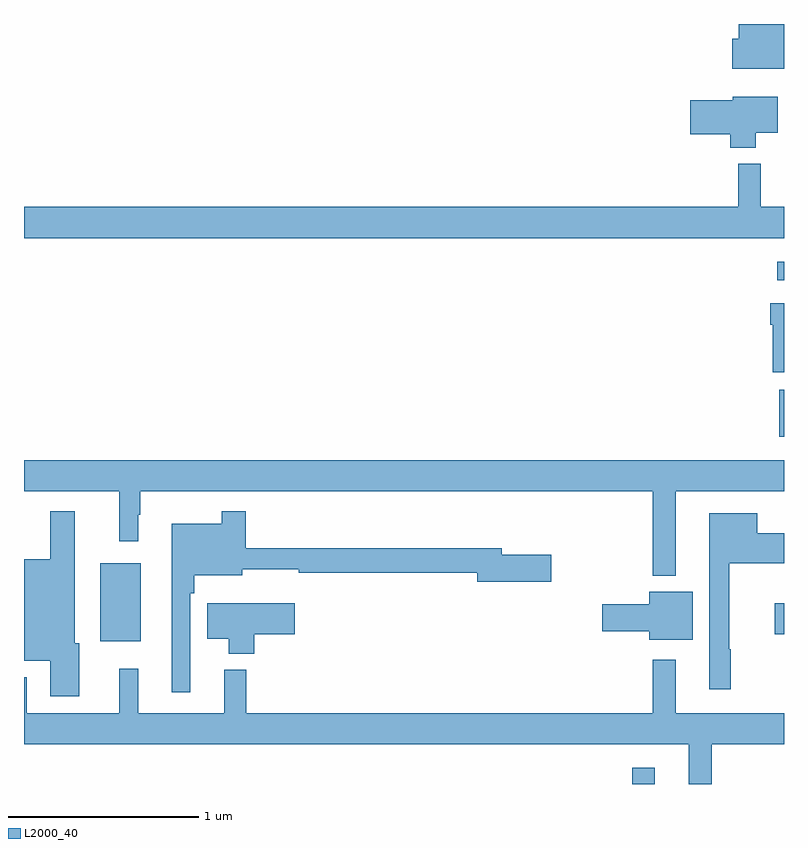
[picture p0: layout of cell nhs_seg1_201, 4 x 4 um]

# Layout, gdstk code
import gdstk
lib = gdstk.Library(unit=1e-6, precision=1e-09)
def R(c, l, rs):  # rectangles x0, y0, x1, y1
    for r in rs: c.add(gdstk.rectangle(r[:2], r[2:], *l))
def P(c, l, *ps):  # polygons
    for p in ps: c.add(gdstk.Polygon(p, *l))
L2000_40 = (2000, 40)

nhs_seg1_201 = lib.new_cell('nhs_seg1_201')
R(nhs_seg1_201, L2000_40, [(124.2,542.199,124.321,542.284), (121.4,542.951,121.615,543.361), (124.95,542.986,125,543.151), (124.975,544.026,125,544.275), (124.965,544.851,125,544.947)])
P(nhs_seg1_201, L2000_40, [(125,546.199),(124.762,546.199),(124.762,546.121),(124.728,546.121),(124.728,545.963),(125,545.963)],
  [(124.852,545.627),(124.966,545.627),(124.966,545.815),(124.73,545.815),(124.73,545.798),(124.506,545.798),(124.506,545.62),(124.718,545.62),(124.718,545.549),(124.852,545.549)],
  [(125,545.236),(124.877,545.236),(124.877,545.464),(124.759,545.464),(124.759,545.236),(121,545.236),(121,545.072),(125,545.072)],
  [(125,544.729),(124.928,544.729),(124.928,544.616),(124.94,544.616),(124.94,544.367),(125,544.367)],
  [(124.429,543.74),(125,543.74),(125,543.904),(121,543.904),(121,543.74),(121.501,543.74),(121.501,543.477),(121.6,543.477),(121.6,543.617),(121.612,543.617),(121.612,543.74),(124.308,543.74),(124.308,543.296),(124.429,543.296)],
  [(121.875,543.203),(121.895,543.203),(121.895,543.299),(122.149,543.299),(122.149,543.329),(122.445,543.329),(122.445,543.31),(123.386,543.31),(123.386,543.263),(123.775,543.263),(123.775,543.405),(123.514,543.405),(123.514,543.439),(122.168,543.439),(122.168,543.634),(122.04,543.634),(122.04,543.568),(121.778,543.568),(121.778,542.682),(121.875,542.682)],
  [(121.291,542.94),(121.267,542.94),(121.267,543.634),(121.139,543.634),(121.139,543.382),(121,543.382),(121,542.847),(121.139,542.847),(121.139,542.661),(121.291,542.661)],
  [(124.721,542.909),(124.711,542.909),(124.711,543.362),(125,543.362),(125,543.52),(124.858,543.52),(124.858,543.625),(124.607,543.625),(124.607,542.697),(124.721,542.697)],
  [(124.519,543.211),(124.292,543.211),(124.292,543.146),(124.044,543.146),(124.044,543.004),(124.292,543.004),(124.292,542.957),(124.519,542.957)],
  [(122.213,542.986),(122.425,542.986),(122.425,543.151),(121.964,543.151),(121.964,542.963),(122.078,542.963),(122.078,542.885),(122.213,542.885)],
  [(124.621,542.408),(125,542.408),(125,542.572),(124.429,542.572),(124.429,542.854),(124.308,542.854),(124.308,542.572),(122.171,542.572),(122.171,542.8),(122.054,542.8),(122.054,542.572),(121.601,542.572),(121.601,542.806),(121.502,542.806),(121.502,542.572),(121.015,542.572),(121.015,542.762),(121,542.762),(121,542.408),(124.499,542.408),(124.499,542.199),(124.621,542.199)])

lib.write_gds('nhs_seg1_201.gds')
